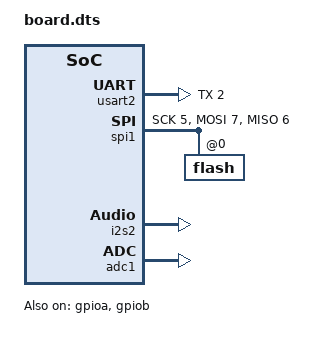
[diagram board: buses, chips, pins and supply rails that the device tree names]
/* STM32F411RE board — full device tree */

/ {
    clocks {
        hsi: hsi {
            compatible = "fixed-clock";
            clock-frequency = <16000000>;
        };
    };

    chosen {
        console = <&usart2>;
    };

    soc {
        rcc: rcc@40023800 {
            compatible = "st,stm32-rcc";
            reg = <0x40023800>;
        };

        gpioa: gpio@40020000 {
            compatible = "st,stm32-gpio";
            reg = <0x40020000>;
            clocks = <&rcc 0 0>;
            status = "okay";
        };

        gpiob: gpio@40020400 {
            compatible = "st,stm32-gpio";
            reg = <0x40020400>;
            clocks = <&rcc 0 1>;
            status = "okay";
        };

        usart2: serial@40004400 {
            compatible = "st,stm32-usart";
            reg = <0x40004400>;
            clocks = <&rcc 1 17>;
            tx-pin = <2>;
            tx-af = <7>;
            tx-port = <&gpioa>;
            baudrate = <115200>;
            status = "okay";
        };

        spi1: spi@40013000 {
            compatible = "st,stm32-spi";
            reg = <0x40013000>;
            clocks = <&rcc 2 12>;
            sck-port = <&gpioa>;
            sck-pin = <5>;
            sck-af = <5>;
            miso-port = <&gpioa>;
            miso-pin = <6>;
            miso-af = <5>;
            mosi-port = <&gpioa>;
            mosi-pin = <7>;
            mosi-af = <5>;
            status = "okay";

            flash@0 {
                cs-port = <&gpioa>;
                cs-pin = <4>;
            };
        };

        i2s2: i2s@40003800 {
            compatible = "st,stm32-i2s";
            reg = <0x40003800>;
            clocks = <&rcc 1 14>;
            status = "okay";
        };

        adc1: adc@40012000 {
            compatible = "st,stm32-adc";
            reg = <0x40012000>;
            clocks = <&rcc 2 8>;
            channel = <0>;
            status = "okay";
        };

        ili9341: display@1 {
            compatible = "ilitek,ili9341";
            dc-port = <&gpioa>;
            dc-pin = <3>;
            status = "okay";
        };
    };
};
